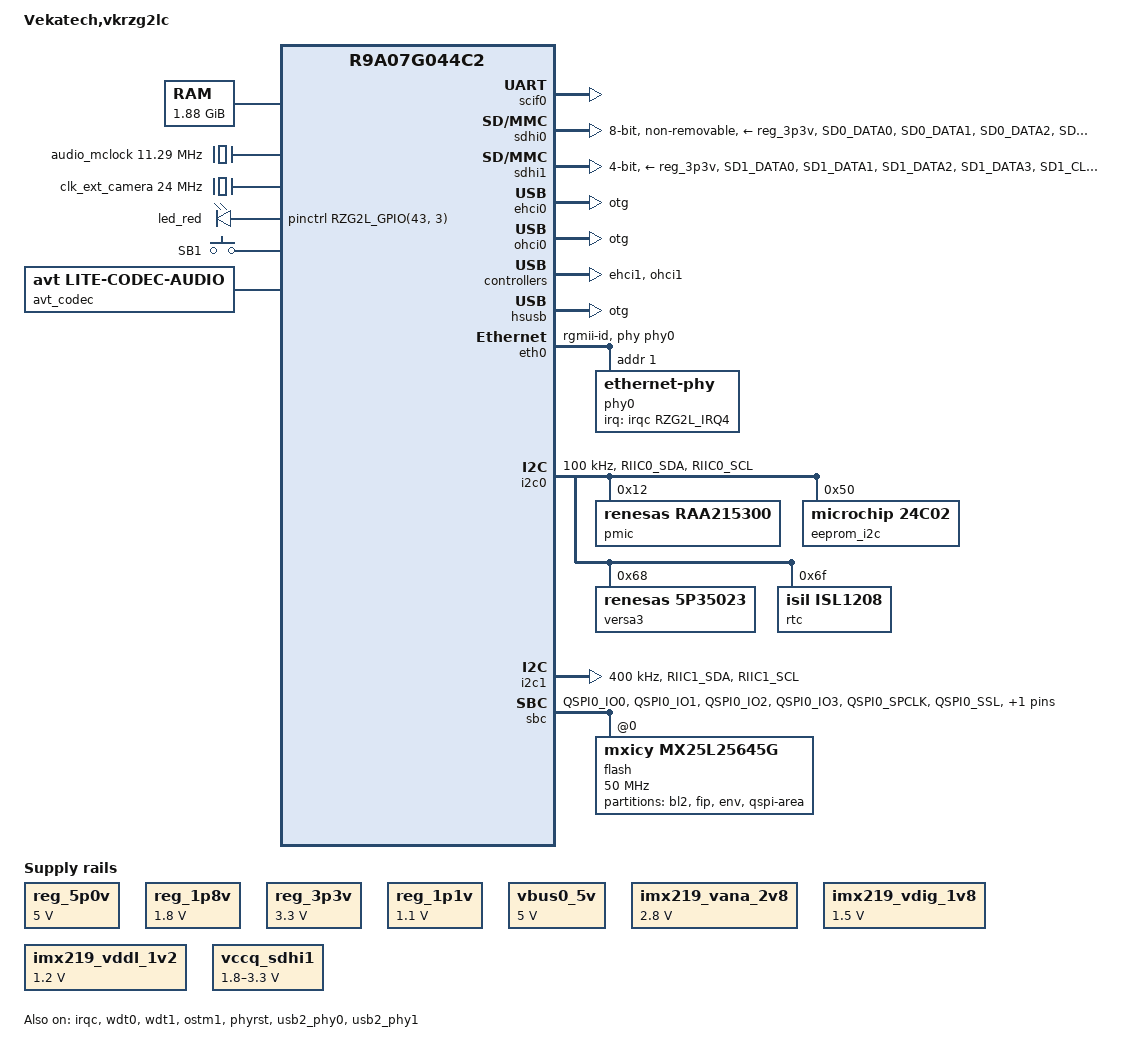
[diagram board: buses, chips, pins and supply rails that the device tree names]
// SPDX-License-Identifier: GPL-2.0
/*
 * Device Tree Source for the Vekatech (VKRZG2LC Dual Cortex-A55)
 *
 * Copyright (C) 2022 Vekatech.
 */

/dts-v1/;

#include "r9a07g044c2.dtsi"
#include <dt-bindings/gpio/gpio.h>
#include <dt-bindings/interrupt-controller/irqc-rzg2l.h>
#include <dt-bindings/pinctrl/rzg2l-pinctrl.h>
#include <dt-bindings/input/input.h>


/ {
	model = "Vekatech,vkrzg2lc";
	compatible = "vekatech,vkrzg2lc", "renesas,r9a07g044", "renesas,r9a07g044c2";

	aliases {
		ethernet0 = &eth0;
		serial0 = &scif0;
		serial1 = &scif1;
		serial2 = &scif2;
		serial3 = &scif3;
		i2c0 = &i2c0;
		i2c1 = &i2c1;
		i2c2 = &i2c2;
		i2c3 = &i2c3;
		mmc0 = &sdhi0;
		mmc1 = &sdhi1;
	};

	chosen {
		bootargs = "ignore_loglevel";
		stdout-path = "serial0:115200n8";
	};

	memory@48000000 {
		device_type = "memory";
		/* first 128MB is reserved for secure area. */
		reg = <0x0 0x48000000 0x0 0x78000000>;
	};

	reserved-memory {
		#address-cells = <2>;
		#size-cells = <2>;
		ranges;

		global_cma: linux,cma@58000000 {
			compatible = "shared-dma-pool";
			linux,cma-default;
			reusable;
			reg = <0x0 0x58000000 0x0 0x10000000>;
		};

		mmp_reserved: linux,multimedia {
			compatible = "shared-dma-pool";
			reusable;
			reg = <0x00000000 0x68000000 0x0 0x8000000>;
		};
	};

	mmngr {
		compatible = "renesas,mmngr";
		memory-region = <&mmp_reserved>;
	};

	mmngrbuf {
		compatible = "renesas,mmngrbuf";
	};

	vspm_if {
		compatible = "renesas,vspm_if";
	};

	reg_5p0v: regulator0 {
		compatible = "regulator-fixed";
		regulator-name = "MAIN-5.0V";
		regulator-min-microvolt = <5000000>;
		regulator-max-microvolt = <5000000>;
		regulator-boot-on;
		regulator-always-on;
	};

	reg_1p8v: regulator1 {
		compatible = "regulator-fixed";
		regulator-name = "fixed-1.8V";
		regulator-min-microvolt = <1800000>;
		regulator-max-microvolt = <1800000>;
		regulator-boot-on;
		regulator-always-on;
	};

	reg_3p3v: regulator2 {
		compatible = "regulator-fixed";
		regulator-name = "fixed-3.3V";
		regulator-min-microvolt = <3300000>;
		regulator-max-microvolt = <3300000>;
		regulator-boot-on;
		regulator-always-on;
	};

	reg_1p1v: regulator-vdd-core {
		compatible = "regulator-fixed";
		regulator-name = "fixed-1.1V";
		regulator-min-microvolt = <1100000>;
		regulator-max-microvolt = <1100000>;
		regulator-boot-on;
		regulator-always-on;
	};

	vbus0_5v: regulator-vbus0-usb {
		compatible = "regulator-fixed";
		regulator-name = "USB2_VBUS0";
		regulator-min-microvolt = <5000000>;
		regulator-max-microvolt = <5000000>;
		regulator-always-on;
	};

	imx219_vana_2v8: 2p8v {
		compatible = "regulator-fixed";
		regulator-name = "camera_vana";
		regulator-min-microvolt = <2800000>;
		regulator-max-microvolt = <2800000>;
		regulator-always-on;
	};

	imx219_vdig_1v8: 1p8v {
		compatible = "regulator-fixed";
		regulator-name = "camera_vdig";
		regulator-min-microvolt = <1500000>;
		regulator-max-microvolt = <1500000>;
		regulator-always-on;
	};

	imx219_vddl_1v2: 1p2v {
		compatible = "regulator-fixed";
		regulator-name = "camera_vddl";
		regulator-min-microvolt = <1200000>;
		regulator-max-microvolt = <1200000>;
		regulator-always-on;
	};

	audio_mclock: audio_mclock {
		compatible = "fixed-clock";
		#clock-cells = <0>;
		clock-frequency = <11289600>;
	};

	clk_ext_camera: clk_ext_camera {
		compatible = "fixed-clock";
		#clock-cells = <0>;
		clock-frequency = <24000000>;
	};

	leds {
		compatible = "gpio-leds";
		led_red {
			gpios = <&pinctrl RZG2L_GPIO(43, 3) GPIO_ACTIVE_HIGH>;
			linux,default-trigger = "heartbeat";
			default-state = "on";
		};
	};

	keys {
		compatible = "gpio-keys";
		pinctrl-names = "default";
		#address-cells = <1>;
		#size-cells = <0>;
		pinctrl-0 = <&user_key_pin>;
		user_key@1 {
			interrupt-parent = <&irqc>;
			interrupts = <RZG2L_IRQ6 IRQ_TYPE_EDGE_BOTH>;
			linux,code = <KEY_1>;
			label = "SB1";
			debounce-interval = <50>;
		};
	};

	audio_codec: sound-da7212 {
		compatible = "simple-audio-card";
		simple-audio-card,name = "audio-da7212";
		simple-audio-card,format = "i2s";
		simple-audio-card,bitclock-master = <&cpu_dai>;
		simple-audio-card,frame-master = <&cpu_dai>;
		status = "disabled";

		simple-audio-card,widgets =
			"Microphone", "Microphone Jack",
			"Headphone", "Headphone Jack";
		simple-audio-card,routing =
			"MIC1", "Microphone Jack",
			"Microphone Jack", "Mic Bias 1",
			"Headphone Jack", "HPL",
			"Headphone Jack", "HPR";

		cpu_dai: simple-audio-card,cpu {
			sound-dai = <&ssi0>;
		};

		codec_dai: simple-audio-card,codec {
			sound-dai = <&da7212>;
			clocks = <&versa3 3>;
		};
	};

	avt_codec: avt_codec {
		compatible = "avt,lite-codec-audio";
		#sound-dai-cells = <1>;
	};

	lite_audio: sound-lite-codec {
		compatible = "simple-audio-card";
		simple-audio-card,name = "lite-codec";
		simple-audio-card,format = "i2s";
		simple-audio-card,bitclock-inversion;
		simple-audio-card,frame-master = <&cpu>;
		simple-audio-card,bitclock-master = <&cpu>;
		status = "disabled";

		cpu: simple-audio-card,cpu {
			sound-dai = <&ssi0>;
			dai-tdm-slot-num = <2>;
			dai-tdm-slot-width = <16>;
		};

		simple-audio-card,codec {
			sound-dai = <&avt_codec 1>;
		};
	};

	vccq_sdhi1: regulator-vccq-sdhi1 {
		compatible = "regulator-gpio";
		regulator-name = "SDHI1 VccQ";
		regulator-min-microvolt = <1800000>;
		regulator-max-microvolt = <3300000>;
		gpios-states = <1>;
		states = <3300000 1>, <1800000 0>;
	};


	backlight: backlight {
		compatible = "pwm-backlight";
		pwms = <&gpt3 0 40000 0>;
		brightness-levels = <0 8 32 64 96 128 160 192 224 255>;
		default-brightness-level = <8>;
		power-supply = <&reg_5p0v>;
		status = "disabled";
	};

	x1_clk: x1-clock {
		compatible = "fixed-clock";
		#clock-cells = <0>;
		clock-frequency = <24000000>;
	};
};

&extal_clk {
	clock-frequency = <24000000>;
};

&audio_clk1{
	clock-frequency = <11289600>;
};

&audio_clk2{
	clock-frequency = <12288000>;
};

&irqc {
	status = "okay";
};

&gpu {
	mali-supply = <&reg_1p1v>;
};

&wdt0 {
	status = "okay";
	timeout-sec = <60>;
};

&wdt1 {
	status = "okay";
	timeout-sec = <60>;
};

&ostm1 {
	status = "okay";
};

&scif0 {
	pinctrl-0 = <&scif0_pins>;
	pinctrl-names = "default";
	status = "okay";
};

/* for eMMC */
&sdhi0 {
	pinctrl-0 = <&sdhi0_emmc_pins>;
	pinctrl-1 = <&sdhi0_emmc_pins>;
	pinctrl-names = "default", "state_uhs";

	vmmc-supply = <&reg_3p3v>;
	vqmmc-supply = <&reg_1p8v>;
	bus-width = <8>;
	mmc-hs200-1_8v;
	non-removable;
	fixed-emmc-driver-type = <1>;
	status = "okay";
};

/* for SD Card */
&sdhi1 {
	pinctrl-0 = <&sdhi1_pins>;
	pinctrl-1 = <&sdhi1_pins_uhs>;
	pinctrl-names = "default", "state_uhs";

	vmmc-supply = <&reg_3p3v>;
	vqmmc-supply = <&vccq_sdhi1>;
	bus-width = <4>;
	sd-uhs-sdr50;
	sd-uhs-sdr104;
	status = "okay";
};

&vccq_sdhi1 {
	gpios = <&pinctrl RZG2L_GPIO(5, 2) GPIO_ACTIVE_HIGH>;
};

&ehci0 {
	memory-region = <&global_cma>;
	dr_mode = "otg";
	status = "okay";
};

&ohci0 {
	memory-region = <&global_cma>;
	dr_mode = "otg";
	status = "okay";
};

&ehci1 {
	memory-region = <&global_cma>;
	status = "okay";
};

&ohci1 {
	memory-region = <&global_cma>;
	status = "okay";
};

&hsusb {
	dr_mode = "otg";
	status = "okay";
};

&phyrst {
	status = "okay";
};

&usb2_phy0 {
	pinctrl-0 = <&usb0_pins>;
	pinctrl-names = "default";

	vbus-supply = <&vbus0_5v>;
	status = "okay";
};

&usb2_phy1 {
	pinctrl-0 = <&usb1_pins>;
	pinctrl-names = "default";

	vbus-supply = <&vbus0_5v>;
	status = "okay";
};

&eth0 {
	#address-cells = <1>;
	#size-cells = <0>;
	pinctrl-names = "default";
	pinctrl-0 = <&eth0_pins>;
	phy-handle = <&phy0>;
	phy-mode = "rgmii-id";
	status = "okay";

	/* Realtek RTL8211F (0x001cc916) */
	phy0: ethernet-phy@1 {
		reg = <1>;
		reset-assert-us = <15000>;
		reset-deassert-us = <100000>;
		interrupt-parent = <&irqc>;
		interrupts = <RZG2L_IRQ4 IRQ_TYPE_LEVEL_LOW>;
	};
};

&csi2 {
	status = "disabled";
	ports {
		port {
			csi2_in: endpoint {
				clock-lanes = <0>;
				data-lanes = <1 2>;
				remote-endpoint = <&imx219_to_csi>;
			};
		};
	};
};

&i2c0 {
	pinctrl-0 = <&i2c0_pins>;
	pinctrl-names = "default";

	clock-frequency = <100000>;
	status = "okay";

	imx219: camera@10 {
		compatible = "sony,imx219";
		reg = <0x10>;
		status = "disabled";

		clock-names = "xclk";
		clocks = <&clk_ext_camera>;
		clock-frequency = <24000000>;

		VANA-supply = <&imx219_vana_2v8>;
		VDIG-supply = <&imx219_vdig_1v8>;
		VDDL-supply = <&imx219_vddl_1v2>;

		reset-gpios = <&pinctrl RZG2L_GPIO(23, 1) GPIO_ACTIVE_HIGH>;

		port {
			imx219_to_csi: endpoint {
				remote-endpoint = <&csi2_in>;
				data-lanes = <1 2>;
				clock-noncontinuous;
				link-frequencies = /bits/ 64 <456000000>;
			};
		};
	};

	pmic: raa215300@12 {
		compatible = "renesas,raa215300";
		reg = <0x12>;

		rtc-enable;
	};

	da7212: codec@1a {
		compatible = "dlg,da7212";
		#sound-dai-cells = <0>;
		reg = <0x1a>;
		dlg,micbias1-lvl = <2500>;
		dlg,micbias2-lvl = <2500>;
		VDDA-supply = <&reg_1p8v>;
		VDDIO-supply = <&reg_3p3v>;
		VDDMIC-supply = <&reg_3p3v>;
		clocks = <&audio_mclock>;
		clock-names = "mclk";
		status = "disabled";
	};

	eeprom_i2c: eeprom_i2c@50 {
		status = "okay";
		compatible = "microchip,24c02", "atmel,24c02";
		reg = <0x50>;
		pagesize = <8>;
	};

	versa3: versa3@68 {
		compatible = "renesas,5p35023";
		reg = <0x68>;
		#clock-cells = <1>;
		clocks = <&x1_clk>;
		clock-names = "x1";
		assigned-clocks = <&versa3 0>,	/* REF RZ EXT */
				   		  <&versa3 1>,	/* SE1 Audio CLK1 */
						  <&versa3 2>,	/* SE2 Audio Master CLK */
					   	  <&versa3 3>,	/* SE3 HDMI CLK */
					   	  <&versa3 4>,	/* DIFF1 ETH1/2 CLK */
					   	  <&versa3 5>;	/* DIFF2 Audio CLK2 */
		assigned-clock-rates =	<24000000>, <11289600>,
		                        <12288000>, <25000000>,
		                        <25000000>, <12288000>;
		clock-divider-read-only = <1>, <1>, <1>, <1>, <1>;
		clock-flags = <2176>, <2176>, <2176>, <2052>, <2176>, <2048>;
	};

	rtc: isl1208@6f {
		compatible = "isil,isl1208";
		reg = <0x6f>;

		external-oscillator;
	};
};

&i2c1 {
	status = "okay";

	pinctrl-0 = <&i2c1_pins>;
	pinctrl-names = "default";
	clock-frequency = <400000>;

	gt911: gt911_ts@14 {
		compatible = "goodix,gt911";
		reg = <0x14>;

		status = "disabled";

		interrupt-parent = <&pinctrl>;
		interrupts = <RZG2L_GPIO(43, 1) IRQ_TYPE_LEVEL_LOW>;
		irq-gpios = <&pinctrl RZG2L_GPIO(43, 1) GPIO_ACTIVE_HIGH>;   /* DSI_TS_nINT */
	};

	mxt1066t2: mxt1066t2_ts@4a {
		compatible = "atmel,maxtouch";
		reg = <0x4a>;

		status = "disabled";

		interrupt-parent = <&pinctrl>;
		interrupts = <RZG2L_GPIO(43, 1) IRQ_TYPE_LEVEL_LOW>;
		irq-gpios = <&pinctrl RZG2L_GPIO(43, 1) GPIO_ACTIVE_HIGH>;   /* DSI_TS_nINT */
	};

	gt9271: gt9271_ts@5d {
		compatible = "goodix,gt911";
		reg = <0x5d>;

		status = "disabled";
		VDDIO-supply = <&reg_3p3v>;
	};

	ft5626: ft5626_ts@38 {
		compatible = "edt,edt-ft5506";
		reg = <0x38>;

		status = "disabled";

		interrupt-parent = <&pinctrl>;
		interrupts = <RZG2L_GPIO(43, 1) IRQ_TYPE_LEVEL_LOW>;
		irq-gpios = <&pinctrl RZG2L_GPIO(43, 1) GPIO_ACTIVE_HIGH>;   /* DSI_TS_nINT */
		touchscreen-size-x = <1280>;
		touchscreen-size-y = <800>;
		vcc-supply = <&reg_3p3v>;
	};
};

&gpt3 {
	pinctrl-0 = <&gpt3_pins>;
	pinctrl-names = "default";
	channel="channel_B";
	status = "disabled";
};

&dsi {
	status = "disabled";
	#address-cells = <1>;
	#size-cells = <0>;

	mipi_panel: panel@0 {
		power-supply = <&reg_5p0v>;
		reg = <0>;
		backlight = <&backlight>;
		status = "disabled";
	};
};

&sbc {
	status = "okay";

	pinctrl-0 = <&qspi0_pins>;
	pinctrl-names = "default";

	flash@0 {
		status = "okay";

		compatible = "mxicy,mx25l25645g", "jedec,spi-nor";
		spi-max-frequency = <50000000>;
		reg = <0>;
		spi-rx-bus-width = <4>;
		spi-tx-bus-width = <4>;
		m25p,fast-read;

		partitions {
			compatible = "fixed-partitions";
			#address-cells = <1>;
			#size-cells = <1>;

			partition@0 {
				label = "bl2";
				reg = <0x00000000 0x0001D200>;
				read-only;
			};
			partition@1D200 {
				label = "fip";
				reg = <0x0001D200 0x001C2E00>;
				read-only;
			};
			partition@1E0000 {
				label = "env";
				reg = <0x001E0000 0x00020000>;
				read-only;
			};
			partition@200000 {
				label = "qspi-area";
				reg = <0x00200000 0x01E00000>;
			};
		};
	};
};

&pinctrl {
	pinctrl-0 = <&sound_clk_pins>;
	pinctrl-names = "default";

	user_key_pin: user_key {
		pinmux = <RZG2L_PORT_PINMUX(43, 2, 4)>;	/* IRQ6 */
	};

	sound_clk_pins: sound_clk {
		pins = "AUDIO_CLK1", "AUDIO_CLK2";
		input-enable;
	};

	scif0_pins: scif0 {
		pinmux = <RZG2L_PORT_PINMUX(38, 0, 1)>,	/* TxD */
			 <RZG2L_PORT_PINMUX(38, 1, 1)>;	/* RxD */
	};

	i2c0_pins: i2c0 {
		pins = "RIIC0_SDA", "RIIC0_SCL";
		input-enable;
	};

	i2c1_pins: i2c1 {
		pins = "RIIC1_SDA", "RIIC1_SCL";
		input-enable;
	};


	eth0_pins: eth0 {
		pinmux = <RZG2L_PORT_PINMUX(28, 1, 1)>, /* ET0_LINKSTA */
			 <RZG2L_PORT_PINMUX(27, 1, 1)>, /* ET0_MDC */
			 <RZG2L_PORT_PINMUX(28, 0, 1)>, /* ET0_MDIO */
			 <RZG2L_PORT_PINMUX(20, 0, 1)>, /* ET0_TXC */
			 <RZG2L_PORT_PINMUX(20, 1, 1)>, /* ET0_TX_CTL */
			 <RZG2L_PORT_PINMUX(20, 2, 1)>, /* ET0_TXD0 */
			 <RZG2L_PORT_PINMUX(21, 0, 1)>, /* ET0_TXD1 */
			 <RZG2L_PORT_PINMUX(21, 1, 1)>, /* ET0_TXD2 */
			 <RZG2L_PORT_PINMUX(22, 0, 1)>, /* ET0_TXD3 */
			 <RZG2L_PORT_PINMUX(24, 0, 1)>, /* ET0_RXC */
			 <RZG2L_PORT_PINMUX(24, 1, 1)>, /* ET0_RX_CTL */
			 <RZG2L_PORT_PINMUX(25, 0, 1)>, /* ET0_RXD0 */
			 <RZG2L_PORT_PINMUX(25, 1, 1)>, /* ET0_RXD1 */
			 <RZG2L_PORT_PINMUX(26, 0, 1)>, /* ET0_RXD2 */
			 <RZG2L_PORT_PINMUX(26, 1, 1)>, /* ET0_RXD3 */
			 <RZG2L_PORT_PINMUX(43, 0, 4)>; /* IRQ4     */
	};

	usb0_pins: usb0 {
		pinmux = <RZG2L_PORT_PINMUX(4, 0, 1)>, /* VBUS */
			 <RZG2L_PORT_PINMUX(5, 0, 1)>; /* OVC */
	};

	usb1_pins: usb1 {
		pinmux = <RZG2L_PORT_PINMUX(42, 0, 1)>, /* VBUS */
			 <RZG2L_PORT_PINMUX(42, 1, 1)>; /* OVC */
	};

	gpt3_pins: gpt3 {
		pinmux = <RZG2L_PORT_PINMUX(19, 1, 2)>; /* Channel B */
	};

	sdhi0_emmc_pins: sd0emmc {
		sd0_emmc_data {
			pins = "SD0_DATA0", "SD0_DATA1", "SD0_DATA2", "SD0_DATA3",
			       "SD0_DATA4", "SD0_DATA5", "SD0_DATA6", "SD0_DATA7";
			power-source = <1800>;
		};

		sd0_emmc_ctrl {
			pins = "SD0_CLK", "SD0_CMD";
			power-source = <1800>;
		};

		sd0_emmc_rst {
			pins = "SD0_RST#";
			power-source = <1800>;
		};
	};

	sdhi1_pins: sd1 {
		sd1_data {
			pins = "SD1_DATA0", "SD1_DATA1", "SD1_DATA2", "SD1_DATA3";
			power-source  = <3300>;
		};

		sd1_ctrl {
			pins = "SD1_CLK", "SD1_CMD";
			power-source  = <3300>;
		};

		sd1_mux {
			pinmux = <RZG2L_PORT_PINMUX(19, 0, 1)>; /* CD */
		};
	};

	sdhi1_pins_uhs: sd1_uhs {
		sd1_data_uhs {
			pins = "SD1_DATA0", "SD1_DATA1", "SD1_DATA2", "SD1_DATA3";
			power-source = <1800>;
		};

		sd1_ctrl_uhs {
			pins = "SD1_CLK", "SD1_CMD";
			power-source = <1800>;
		};

		sd1_mux_uhs {
			pinmux = <RZG2L_PORT_PINMUX(19, 0, 1)>; /* SD1_CD */
		};
	};


	qspi0_pins: qspi0 {
		qspi0-data {
			pins = "QSPI0_IO0", "QSPI0_IO1", "QSPI0_IO2", "QSPI0_IO3";
			power-source = <3300>;
		};

		qspi0-ctrl {
			pins = "QSPI0_SPCLK", "QSPI0_SSL", "QSPI_RESET#";
			power-source = <3300>;
		};
	};
};
